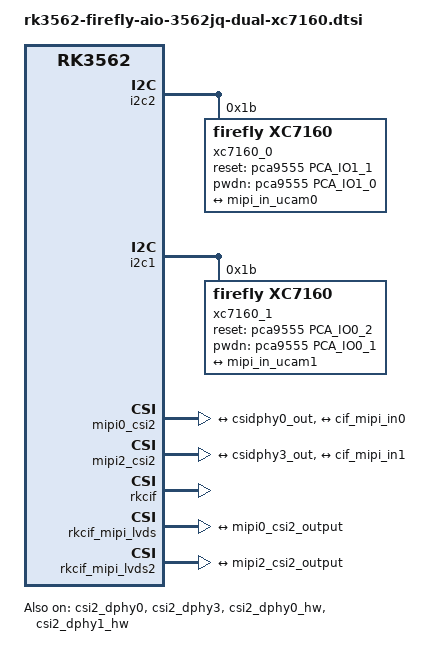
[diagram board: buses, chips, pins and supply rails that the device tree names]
// SPDX-License-Identifier: (GPL-2.0+ OR MIT)
/*
 * Copyright (c) 2023 Rockchip Electronics Co., Ltd.
 *
 */

/ {

};

&csi2_dphy0 {
	status = "okay";

	ports {
		#address-cells = <1>;
		#size-cells = <0>;
		port@0 {
			reg = <0>;
			#address-cells = <1>;
			#size-cells = <0>;

			mipi_in_ucam0: endpoint@1 {
				reg = <1>;
				remote-endpoint = <&xc7160_out0>;
				data-lanes = <1 2 3 4>;
			};
		};
		port@1 {
			reg = <1>;
			#address-cells = <1>;
			#size-cells = <0>;

			csidphy0_out: endpoint@0 {
				reg = <0>;
				remote-endpoint = <&mipi0_csi2_input>;
			};
		};
	};
};

&csi2_dphy3 {
	status = "okay";

	ports {
		#address-cells = <1>;
		#size-cells = <0>;
		port@0 {
			reg = <0>;
			#address-cells = <1>;
			#size-cells = <0>;

			mipi_in_ucam1: endpoint@1 {
				reg = <1>;
				remote-endpoint = <&xc7160_out1>;
				data-lanes = <1 2 3 4>;
			};
		};
		port@1 {
			reg = <1>;
			#address-cells = <1>;
			#size-cells = <0>;

			csidphy3_out: endpoint@0 {
				reg = <0>;
				remote-endpoint = <&mipi2_csi2_input>;
			};
		};
	};
};

&i2c2 {
	xc7160_0: xc7160-0@1b {
		status = "okay";
		compatible = "firefly,xc7160";
		reg = <0x1b>;
		clocks = <&cru CLK_CAM0_OUT2IO>;
		clock-names = "xvclk";
		pinctrl-names = "default";
		pinctrl-0 = <&camm1_clk0_out>;
		reset-gpios = <&pca9555 PCA_IO1_1 GPIO_ACTIVE_HIGH>;
		pwdn-gpios = <&pca9555 PCA_IO1_0 GPIO_ACTIVE_HIGH>;

		rockchip,camera-module-index = <0>;
		rockchip,camera-module-facing = "back";
		rockchip,camera-module-name = "NC";
		rockchip,camera-module-lens-name = "NC";
		port {
			xc7160_out0: endpoint {
				remote-endpoint = <&mipi_in_ucam0>;
				data-lanes = <1 2 3 4>;
			};
		};
	};
};

&i2c1 {
	xc7160_1: xc7160-1@1b {
		status = "okay";
		compatible = "firefly,xc7160";
		reg = <0x1b>;
		clocks = <&cru CLK_CAM2_OUT2IO>;
		clock-names = "xvclk";
		pinctrl-names = "default";
		pinctrl-0 = <&cam_clk2_out>;
		reset-gpios = <&pca9555 PCA_IO0_2 GPIO_ACTIVE_HIGH>;
		pwdn-gpios = <&pca9555 PCA_IO0_1 GPIO_ACTIVE_HIGH>;

		rockchip,camera-module-index = <1>;
		rockchip,camera-module-facing = "front";
		rockchip,camera-module-name = "NC";
		rockchip,camera-module-lens-name = "NC";
		port {
			xc7160_out1: endpoint {
				remote-endpoint = <&mipi_in_ucam1>;
				data-lanes = <1 2 3 4>;
			};
		};
	};
};

&csi2_dphy0_hw {
	status = "okay";
};

&csi2_dphy1_hw {
	status = "okay";
};

&mipi0_csi2 {
	status = "okay";

	ports {
		#address-cells = <1>;
		#size-cells = <0>;

		port@0 {
			reg = <0>;
			#address-cells = <1>;
			#size-cells = <0>;

			mipi0_csi2_input: endpoint@1 {
				reg = <1>;
				remote-endpoint = <&csidphy0_out>;
			};
		};

		port@1 {
			reg = <1>;
			#address-cells = <1>;
			#size-cells = <0>;

			mipi0_csi2_output: endpoint@0 {
				reg = <0>;
				remote-endpoint = <&cif_mipi_in0>;
			};
		};
	};
};

&mipi2_csi2 {
	status = "okay";

	ports {
		#address-cells = <1>;
		#size-cells = <0>;

		port@0 {
			reg = <0>;
			#address-cells = <1>;
			#size-cells = <0>;

			mipi2_csi2_input: endpoint@1 {
				reg = <1>;
				remote-endpoint = <&csidphy3_out>;
			};
		};

		port@1 {
			reg = <1>;
			#address-cells = <1>;
			#size-cells = <0>;

			mipi2_csi2_output: endpoint@0 {
				reg = <0>;
				remote-endpoint = <&cif_mipi_in1>;
			};
		};
	};
};

&rkcif {
	status = "okay";
};

&rkcif_mipi_lvds {
	status = "okay";

	port {
		cif_mipi_in0: endpoint {
			remote-endpoint = <&mipi0_csi2_output>;
		};
	};
};

&rkcif_mipi_lvds2 {
	status = "okay";

	port {
		cif_mipi_in1: endpoint {
			remote-endpoint = <&mipi2_csi2_output>;
		};
	};
};

&rkcif_mmu {
	status = "okay";
};

